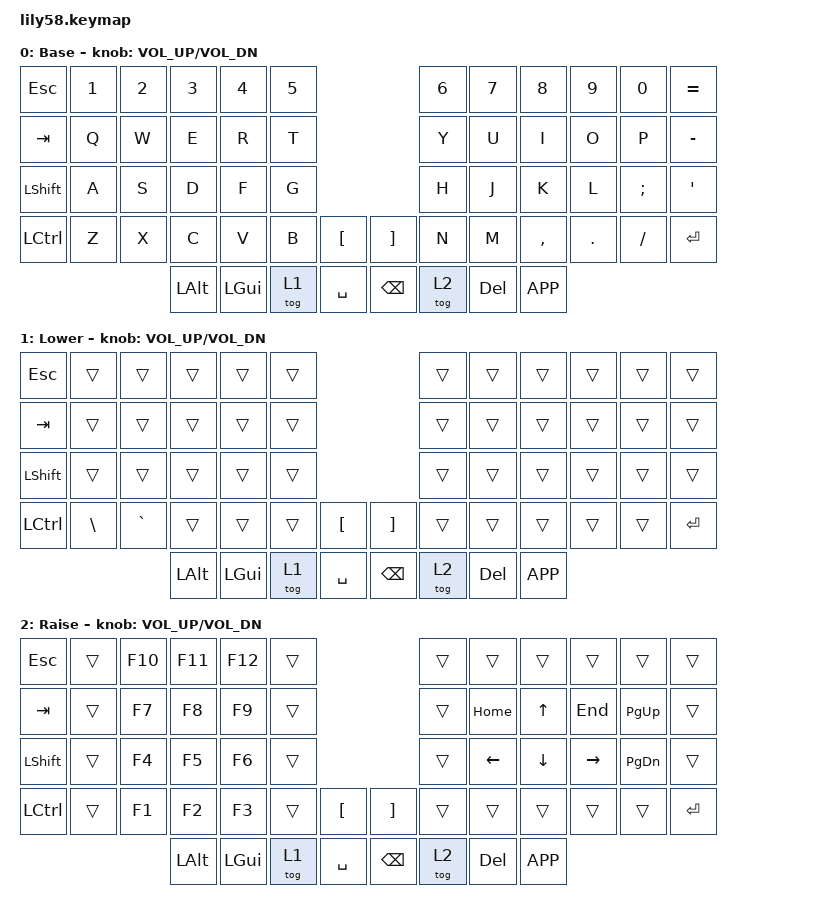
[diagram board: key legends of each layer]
/*
 * Copyright (c) 2020 The ZMK Contributors
 *
 * SPDX-License-Identifier: MIT
 */

#include <behaviors.dtsi>
#include <dt-bindings/zmk/keys.h>
#include <dt-bindings/zmk/bt.h>
#include <dt-bindings/zmk/ext_power.h>

/ {
    keymap {
        compatible = "zmk,keymap";

        default_layer {
// ------------------------------------------------------------------------------------------------------------
// |  ESC  |  1  |  2  |  3   |  4   |  5   |                   |  6   |  7    |  8    |  9   |   0   |   `   |
// |  TAB  |  Q  |  W  |  E   |  R   |  T   |                   |  Y   |  U    |  I    |  O   |   P   |   -   |
// |  CTRL |  A  |  S  |  D   |  F   |  G   |                   |  H   |  J    |  K    |  L   |   ;   |   '   |
// | SHIFT |  Z  |  X  |  C   |  V   |  B   |   "["  |  |  "]"  |  N   |  M    |  ,    |  .   |   /   | SHIFT |
//                     | ALT  | GUI  | LOWER|  SPACE |  | ENTER | RAISE| BSPC  | GUI   |
            label = "Base";
            bindings = <
&kp ESC   &kp N1 &kp N2 &kp N3   &kp N4   &kp N5                     &kp N6 &kp N7   &kp N8    &kp N9  &kp N0   &kp EQUAL
&kp TAB   &kp Q  &kp W  &kp E    &kp R    &kp T                      &kp Y  &kp U    &kp I     &kp O   &kp P    &kp MINUS
&kp LSHFT &kp A  &kp S  &kp D    &kp F    &kp G                      &kp H  &kp J    &kp K     &kp L   &kp SEMI &kp SQT
&kp LCTRL &kp Z  &kp X  &kp C    &kp V    &kp B  &kp LBKT   &kp RBKT &kp N  &kp M    &kp COMMA &kp DOT &kp FSLH &kp RET
                        &kp LALT &kp LGUI &tog 1  &kp SPACE  &kp BSPC &tog 2  &kp DEL &kp K_APP
            >;

            sensor-bindings = <&inc_dec_kp C_VOL_UP C_VOL_DN>;
        };

        lower_layer {
// ------------------------------------------------------------------------------------------------------------
// | BTCLR | BT1 | BT2 |  BT3 |  BT4 |  BT5 |                   |      |       |       |      |       |       |
// |  F1   |  F2 |  F3 |  F4  |  F5  |  F6  |                   |  F7  |  F8   |  F9   |  F10 |  F11  |  F12  |
// |   `   |  !  |  @  |  #   |  $   |  %   |                   |  ^   |  &    |  *    |  (   |   )   |   ~   |
// |       |     |     |      |      |      |        |  |       |      |  _    |  +    |  {   |   }   |  "|"  |
//                     |      |      |      |        |  |       |      |       |       |
            label = "Lower";
            bindings = <
&kp ESC   &trans    &trans     &trans    &trans  &trans                          &trans    &trans    &trans     &trans    &trans  &trans
&kp TAB      &trans    &trans     &trans    &trans  &trans                       &trans    &trans    &trans     &trans    &trans  &trans
&kp LSHFT    &trans    &trans     &trans    &trans  &trans                       &trans    &trans    &trans     &trans    &trans  &trans
&kp LCTRL    &kp BSLH  &kp GRAVE  &trans    &trans  &trans  &kp LBKT   &kp RBKT  &trans    &trans    &trans     &trans    &trans  &kp RET
                                              &kp LALT &kp LGUI &tog 1  &kp SPACE  &kp BSPC &tog 2  &kp DEL &kp K_APP
            >;

            sensor-bindings = <&inc_dec_kp C_VOL_UP C_VOL_DN>;
        };

        raise_layer {
// ------------------------------------------------------------------------------------------------------------
// |       |     |     |      |      |      |                   |      |       |       |      |       |       |
// |   `   |  1  |  2  |  3   |  4   |  5   |                   |  6   |   7   |   8   |  9   |   0   |       |
// |   F1  |  F2 |  F3 |  F4  |  F5  |  F6  |                   |      |   <-  |   v   |  ^   |  ->   |       |
// |   F7  |  F8 |  F9 |  F10 |  F11 |  F12 |        |  |       |  +   |   -   |   =   |  [   |   ]   |   \   |
//                     |      |      |      |        |  |       |      |       |       |
            label = "Raise";
            bindings = <
&kp ESC      &trans    &kp F10    &kp F11  &kp F12  &trans                         &trans    &trans      &trans     &trans     &trans     &trans
&kp TAB      &trans    &kp F7     &kp F8    &kp F9  &trans                         &trans    &kp HOME    &kp UP     &kp END    &kp PG_UP  &trans
&kp LSHFT    &trans    &kp F4     &kp F5    &kp F6  &trans                         &trans    &kp LEFT    &kp DOWN   &kp RIGHT  &kp PG_DN  &trans
&kp LCTRL    &trans    &kp F1     &kp F2    &kp F3  &trans  &kp LBKT   &kp RBKT    &trans    &trans      &trans     &trans     &trans     &kp RET
                                              &kp LALT &kp LGUI &tog 1  &kp SPACE  &kp BSPC &tog 2  &kp DEL &kp K_APP
            >;

            sensor-bindings = <&inc_dec_kp C_VOL_UP C_VOL_DN>;
        };
    };
};
